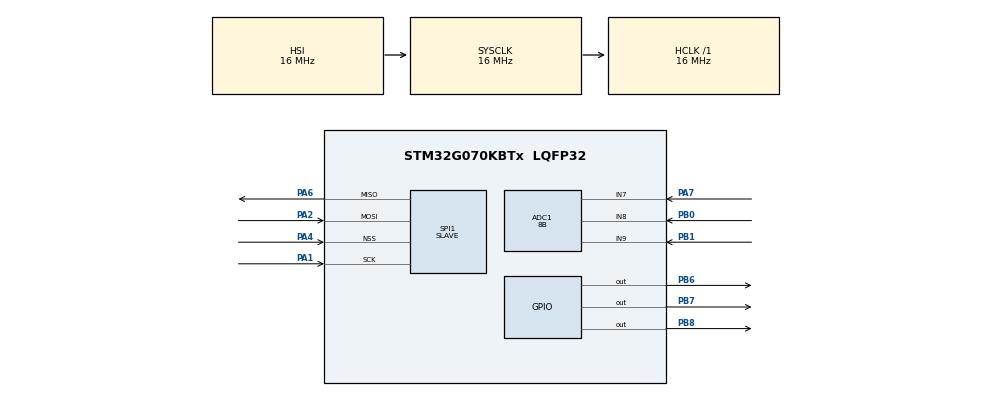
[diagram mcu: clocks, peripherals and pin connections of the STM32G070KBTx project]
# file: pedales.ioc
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ADC1.Channel-10\#ChannelRegularConversion=ADC_CHANNEL_8
ADC1.Channel-11\#ChannelRegularConversion=ADC_CHANNEL_9
ADC1.Channel-9\#ChannelRegularConversion=ADC_CHANNEL_7
ADC1.ClockPrescaler=ADC_CLOCK_ASYNC_DIV1
ADC1.DMAContinuousRequests=DISABLE
ADC1.DiscontinuousConvMode=ENABLE
ADC1.ExternalTrigConv=ADC_EXTERNALTRIG_T15_TRGO
ADC1.ExternalTrigConvEdge=ADC_EXTERNALTRIGCONVEDGE_RISINGFALLING
ADC1.NbrOfConversion=3
ADC1.NbrOfConversionFlag=1
ADC1.Overrun=ADC_OVR_DATA_OVERWRITTEN
ADC1.Rank-10\#ChannelRegularConversion=2
ADC1.Rank-11\#ChannelRegularConversion=3
ADC1.Rank-9\#ChannelRegularConversion=1
ADC1.Resolution=ADC_RESOLUTION_8B
ADC1.SamplingTime-10\#ChannelRegularConversion=ADC_SAMPLINGTIME_COMMON_1
ADC1.SamplingTime-11\#ChannelRegularConversion=ADC_SAMPLINGTIME_COMMON_1
ADC1.SamplingTime-9\#ChannelRegularConversion=ADC_SAMPLINGTIME_COMMON_1
ADC1.SelectedChannel=ADC_CHANNEL_7|ADC_CHANNEL_8|ADC_CHANNEL_9
ADC1.TriggerFrequencyMode=ADC_TRIGGER_FREQ_LOW
ADC1.master=1
Mcu.Family=STM32G0
Mcu.Name=STM32G070KBTx
Mcu.Package=LQFP32
NVIC.ADC1_IRQn=true\:0\:0\:false\:true\:true\:3\:true\:true\:true
NVIC.SPI1_IRQn=true\:0\:0\:false\:true\:true\:1\:true\:true\:true
NVIC.TIM15_IRQn=true\:0\:0\:true\:true\:true\:2\:true\:true\:true
PA1.Mode=Full_Duplex_Slave
PA1.Signal=SPI1_SCK
PA2.Mode=Full_Duplex_Slave
PA2.Signal=SPI1_MOSI
PA4.Mode=NSS_Signal_Hard_Input
PA4.Signal=SPI1_NSS
PA6.Mode=Full_Duplex_Slave
PA6.Signal=SPI1_MISO
PA7.Mode=IN7
PA7.Signal=ADC1_IN7
PB0.Mode=IN8
PB0.Signal=ADC1_IN8
PB1.Mode=IN9
PB1.Signal=ADC1_IN9
PB6.Signal=GPIO_Output
PB7.Signal=GPIO_Output
PB8.Signal=GPIO_Output
ProjectManager.HeapSize=0x200
ProjectManager.StackSize=0x400
ProjectManager.TargetToolchain=STM32CubeIDE
RCC.AHBFreq_Value=16000000
RCC.CortexFreq_Value=16000000
RCC.EXTERNAL_CLOCK_VALUE=48000
RCC.HCLKFreq_Value=16000000
RCC.HSE_VALUE=8000000
RCC.HSI_VALUE=16000000
RCC.LSE_VALUE=32768
RCC.SYSCLKFreq_VALUE=16000000
RCC.VCOOutputFreq_Value=128000000
SPI1.DataSize=SPI_DATASIZE_8BIT
SPI1.Direction=SPI_DIRECTION_2LINES
SPI1.Mode=SPI_MODE_SLAVE
SPI1.VirtualNSS=VM_NSSHARD
SPI1.VirtualType=VM_SLAVE
TIM15.AutoReloadPreload=TIM_AUTORELOAD_PRELOAD_ENABLE
TIM15.Channel-PWM\ Generation1\ No\ Output=TIM_CHANNEL_1
TIM15.Period=1
TIM15.Prescaler=63000
TIM15.RepetitionCounter=1
TIM15.TIM_MasterOutputTrigger=TIM_TRGO_UPDATE
VP_TIM15_VS_ClockSourceINT.Mode=Internal
VP_TIM15_VS_no_output1.Mode=PWM Generation1 No Output
board=custom

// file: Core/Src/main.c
/* USER CODE BEGIN Header */
/**
  ******************************************************************************
  * @file           : main.c
  * @brief          : Main program body
  ******************************************************************************
  * @attention
  *
  * Copyright (c) 2023 STMicroelectronics.
  * All rights reserved.
  *
  * This software is licensed under terms that can be found in the LICENSE file
  * in the root directory of this software component.
  * If no LICENSE file comes with this software, it is provided AS-IS.
  *
  ******************************************************************************
  */
/* USER CODE END Header */
#include "main.h"

ADC_HandleTypeDef hadc1;

SPI_HandleTypeDef hspi1;

TIM_HandleTypeDef htim15;

void SystemClock_Config(void);
static void MX_GPIO_Init(void);
static void MX_SPI1_Init(void);
static void MX_TIM15_Init(void);
static void MX_ADC1_Init(void);
static void MX_NVIC_Init(void);
/* USER CODE BEGIN PFP */
uint8_t tx_data[4]={0};
uint8_t adc_val[3]={0};
/* USER CODE END PFP */

/* USER CODE BEGIN 0 */

void HAL_SPI_TxRxCpltCallback(SPI_HandleTypeDef *hspi){
	//tx_data[2]=adc_val;
	//tx_data[4]=0xFF;
	tx_data[0]=adc_val[0];
	tx_data[1]=adc_val[1];
	tx_data[2]=adc_val[2];
	tx_data[3]=0xFF;
	HAL_SPI_TransmitReceive_IT(hspi, tx_data, tx_data, 4);
}

void HAL_ADC_ConvCpltCallback(ADC_HandleTypeDef *hadc)
{

	HAL_ADC_PollForConversion(hadc,1);
	HAL_ADC_GetValue(hadc);
	HAL_ADC_GetValue(hadc);
	adc_val[0]=HAL_ADC_GetValue(hadc);
	HAL_ADC_PollForConversion(hadc,1);
	HAL_ADC_GetValue(hadc);
	HAL_ADC_GetValue(hadc);
	adc_val[1]=HAL_ADC_GetValue(hadc);
	HAL_ADC_PollForConversion(hadc,1);
	HAL_ADC_GetValue(hadc);
	HAL_ADC_GetValue(hadc);
	adc_val[2]=HAL_ADC_GetValue(hadc);

}

void HAL_TIM_PeriodElapsedCallback(TIM_HandleTypeDef *htim)
{
  /* USER CODE BEGIN Callback 0 */

  /* USER CODE END Callback 0 */
  if (htim->Instance == TIM1) {
    HAL_IncTick();
  }
  /* USER CODE BEGIN Callback 1 */
if(htim->Instance==TIM15){
	HAL_GPIO_TogglePin(GPIOB,GPIO_PIN_7);
	//HAL_ADC_Start_IT(&hadc1);
	/*tx_data[0]=HAL_ADC_GetValue(&hadc1);
	tx_data[1]=HAL_ADC_GetValue(&hadc1);
	tx_data[2]=HAL_ADC_GetValue(&hadc1);
*/

}
  /* USER CODE END Callback 1 */
}

/* USER CODE END 0 */

int main(void)
{

  /* MCU Configuration--------------------------------------------------------*/

  /* Reset of all peripherals, Initializes the Flash interface and the Systick. */
  HAL_Init();

  /* Configure the system clock */
  SystemClock_Config();

  /* Initialize all configured peripherals */
  MX_GPIO_Init();
  MX_SPI1_Init();
  MX_TIM15_Init();
  MX_ADC1_Init();

  /* Initialize interrupts */
  MX_NVIC_Init();
  /* USER CODE BEGIN 2 */
  HAL_SPI_TransmitReceive_IT(&hspi1,tx_data,tx_data, 4);

  /* USER CODE END 2 */

  /* Infinite loop */
  while (1)
  {

  }
}

void SystemClock_Config(void)
{
  RCC_OscInitTypeDef RCC_OscInitStruct = {0};
  RCC_ClkInitTypeDef RCC_ClkInitStruct = {0};

  /** Configure the main internal regulator output voltage
  */
  HAL_PWREx_ControlVoltageScaling(PWR_REGULATOR_VOLTAGE_SCALE1);

  /** Initializes the RCC Oscillators according to the specified parameters
  * in the RCC_OscInitTypeDef structure.
  */
  RCC_OscInitStruct.OscillatorType = RCC_OSCILLATORTYPE_HSI;
  RCC_OscInitStruct.HSIState = RCC_HSI_ON;
  RCC_OscInitStruct.HSIDiv = RCC_HSI_DIV1;
  RCC_OscInitStruct.HSICalibrationValue = RCC_HSICALIBRATION_DEFAULT;
  RCC_OscInitStruct.PLL.PLLState = RCC_PLL_NONE;
  if (HAL_RCC_OscConfig(&RCC_OscInitStruct) != HAL_OK)
  {
    Error_Handler();
  }

  /** Initializes the CPU, AHB and APB buses clocks
  */
  RCC_ClkInitStruct.ClockType = RCC_CLOCKTYPE_HCLK|RCC_CLOCKTYPE_SYSCLK
                              |RCC_CLOCKTYPE_PCLK1;
  RCC_ClkInitStruct.SYSCLKSource = RCC_SYSCLKSOURCE_HSI;
  RCC_ClkInitStruct.AHBCLKDivider = RCC_SYSCLK_DIV1;
  RCC_ClkInitStruct.APB1CLKDivider = RCC_HCLK_DIV1;

  if (HAL_RCC_ClockConfig(&RCC_ClkInitStruct, FLASH_LATENCY_0) != HAL_OK)
  {
    Error_Handler();
  }
}

/**
  * @brief NVIC Configuration.
  * @retval None
  */
static void MX_NVIC_Init(void)
{
  /* SPI1_IRQn interrupt configuration */
  HAL_NVIC_SetPriority(SPI1_IRQn, 0, 0);
  HAL_NVIC_EnableIRQ(SPI1_IRQn);
  /* TIM15_IRQn interrupt configuration */
  HAL_NVIC_SetPriority(TIM15_IRQn, 0, 0);
  HAL_NVIC_EnableIRQ(TIM15_IRQn);
  /* ADC1_IRQn interrupt configuration */
  HAL_NVIC_SetPriority(ADC1_IRQn, 0, 0);
  HAL_NVIC_EnableIRQ(ADC1_IRQn);
}

static void MX_ADC1_Init(void)
{

  ADC_ChannelConfTypeDef sConfig = {0};

  /** Configure the global features of the ADC (Clock, Resolution, Data Alignment and number of conversion)
  */
  hadc1.Instance = ADC1;
  hadc1.Init.ClockPrescaler = ADC_CLOCK_ASYNC_DIV1;
  hadc1.Init.Resolution = ADC_RESOLUTION_8B;
  hadc1.Init.DataAlign = ADC_DATAALIGN_RIGHT;
  hadc1.Init.ScanConvMode = ADC_SCAN_ENABLE;
  hadc1.Init.EOCSelection = ADC_EOC_SINGLE_CONV;
  hadc1.Init.LowPowerAutoWait = DISABLE;
  hadc1.Init.LowPowerAutoPowerOff = DISABLE;
  hadc1.Init.ContinuousConvMode = DISABLE;
  hadc1.Init.NbrOfConversion = 3;
  hadc1.Init.DiscontinuousConvMode = ENABLE;
  hadc1.Init.ExternalTrigConv = ADC_EXTERNALTRIG_T15_TRGO;
  hadc1.Init.ExternalTrigConvEdge = ADC_EXTERNALTRIGCONVEDGE_RISINGFALLING;
  hadc1.Init.DMAContinuousRequests = DISABLE;
  hadc1.Init.Overrun = ADC_OVR_DATA_OVERWRITTEN;
  hadc1.Init.SamplingTimeCommon1 = ADC_SAMPLETIME_1CYCLE_5;
  hadc1.Init.SamplingTimeCommon2 = ADC_SAMPLETIME_1CYCLE_5;
  hadc1.Init.OversamplingMode = DISABLE;
  hadc1.Init.TriggerFrequencyMode = ADC_TRIGGER_FREQ_LOW;
  if (HAL_ADC_Init(&hadc1) != HAL_OK)
  {
    Error_Handler();
  }

  /** Configure Regular Channel
  */
  sConfig.Channel = ADC_CHANNEL_7;
  sConfig.Rank = ADC_REGULAR_RANK_1;
  sConfig.SamplingTime = ADC_SAMPLINGTIME_COMMON_1;
  if (HAL_ADC_ConfigChannel(&hadc1, &sConfig) != HAL_OK)
  {
    Error_Handler();
  }

  /** Configure Regular Channel
  */
  sConfig.Channel = ADC_CHANNEL_8;
  sConfig.Rank = ADC_REGULAR_RANK_2;
  if (HAL_ADC_ConfigChannel(&hadc1, &sConfig) != HAL_OK)
  {
    Error_Handler();
  }

  /** Configure Regular Channel
  */
  sConfig.Channel = ADC_CHANNEL_9;
  sConfig.Rank = ADC_REGULAR_RANK_3;
  if (HAL_ADC_ConfigChannel(&hadc1, &sConfig) != HAL_OK)
  {
    Error_Handler();
  }
  /* USER CODE BEGIN ADC1_Init 2 */
  HAL_ADC_Start_IT(&hadc1);
  /* USER CODE END ADC1_Init 2 */

}

static void MX_SPI1_Init(void)
{

  /* SPI1 parameter configuration*/
  hspi1.Instance = SPI1;
  hspi1.Init.Mode = SPI_MODE_SLAVE;
  hspi1.Init.Direction = SPI_DIRECTION_2LINES;
  hspi1.Init.DataSize = SPI_DATASIZE_8BIT;
  hspi1.Init.CLKPolarity = SPI_POLARITY_LOW;
  hspi1.Init.CLKPhase = SPI_PHASE_1EDGE;
  hspi1.Init.NSS = SPI_NSS_HARD_INPUT;
  hspi1.Init.FirstBit = SPI_FIRSTBIT_MSB;
  hspi1.Init.TIMode = SPI_TIMODE_DISABLE;
  hspi1.Init.CRCCalculation = SPI_CRCCALCULATION_DISABLE;
  hspi1.Init.CRCPolynomial = 7;
  hspi1.Init.CRCLength = SPI_CRC_LENGTH_DATASIZE;
  hspi1.Init.NSSPMode = SPI_NSS_PULSE_DISABLE;
  if (HAL_SPI_Init(&hspi1) != HAL_OK)
  {
    Error_Handler();
  }

}

static void MX_TIM15_Init(void)
{

  TIM_ClockConfigTypeDef sClockSourceConfig = {0};
  TIM_MasterConfigTypeDef sMasterConfig = {0};
  TIM_OC_InitTypeDef sConfigOC = {0};
  TIM_BreakDeadTimeConfigTypeDef sBreakDeadTimeConfig = {0};

  htim15.Instance = TIM15;
  htim15.Init.Prescaler = 63000;
  htim15.Init.CounterMode = TIM_COUNTERMODE_UP;
  htim15.Init.Period = 1;
  htim15.Init.ClockDivision = TIM_CLOCKDIVISION_DIV1;
  htim15.Init.RepetitionCounter = 1;
  htim15.Init.AutoReloadPreload = TIM_AUTORELOAD_PRELOAD_ENABLE;
  if (HAL_TIM_Base_Init(&htim15) != HAL_OK)
  {
    Error_Handler();
  }
  sClockSourceConfig.ClockSource = TIM_CLOCKSOURCE_INTERNAL;
  if (HAL_TIM_ConfigClockSource(&htim15, &sClockSourceConfig) != HAL_OK)
  {
    Error_Handler();
  }
  if (HAL_TIM_PWM_Init(&htim15) != HAL_OK)
  {
    Error_Handler();
  }
  sMasterConfig.MasterOutputTrigger = TIM_TRGO_UPDATE;
  sMasterConfig.MasterSlaveMode = TIM_MASTERSLAVEMODE_DISABLE;
  if (HAL_TIMEx_MasterConfigSynchronization(&htim15, &sMasterConfig) != HAL_OK)
  {
    Error_Handler();
  }
  sConfigOC.OCMode = TIM_OCMODE_PWM1;
  sConfigOC.Pulse = 0;
  sConfigOC.OCPolarity = TIM_OCPOLARITY_HIGH;
  sConfigOC.OCNPolarity = TIM_OCNPOLARITY_HIGH;
  sConfigOC.OCFastMode = TIM_OCFAST_DISABLE;
  sConfigOC.OCIdleState = TIM_OCIDLESTATE_RESET;
  sConfigOC.OCNIdleState = TIM_OCNIDLESTATE_RESET;
  if (HAL_TIM_PWM_ConfigChannel(&htim15, &sConfigOC, TIM_CHANNEL_1) != HAL_OK)
  {
    Error_Handler();
  }
  sBreakDeadTimeConfig.OffStateRunMode = TIM_OSSR_DISABLE;
  sBreakDeadTimeConfig.OffStateIDLEMode = TIM_OSSI_DISABLE;
  sBreakDeadTimeConfig.LockLevel = TIM_LOCKLEVEL_OFF;
  sBreakDeadTimeConfig.DeadTime = 0;
  sBreakDeadTimeConfig.BreakState = TIM_BREAK_DISABLE;
  sBreakDeadTimeConfig.BreakPolarity = TIM_BREAKPOLARITY_HIGH;
  sBreakDeadTimeConfig.BreakFilter = 0;
  sBreakDeadTimeConfig.AutomaticOutput = TIM_AUTOMATICOUTPUT_DISABLE;
  if (HAL_TIMEx_ConfigBreakDeadTime(&htim15, &sBreakDeadTimeConfig) != HAL_OK)
  {
    Error_Handler();
  }
  /* USER CODE BEGIN TIM15_Init 2 */
HAL_TIM_Base_Start_IT(&htim15);
HAL_TIM_PWM_Start(&htim15,TIM_CHANNEL_1);
  /* USER CODE END TIM15_Init 2 */

}

static void MX_GPIO_Init(void)
{
  GPIO_InitTypeDef GPIO_InitStruct = {0};

  /* GPIO Ports Clock Enable */
  __HAL_RCC_GPIOA_CLK_ENABLE();
  __HAL_RCC_GPIOB_CLK_ENABLE();

  /*Configure GPIO pin Output Level */
  HAL_GPIO_WritePin(GPIOB, GPIO_PIN_6|GPIO_PIN_7|GPIO_PIN_8, GPIO_PIN_RESET);

  /*Configure GPIO pins : PB6 PB7 PB8 */
  GPIO_InitStruct.Pin = GPIO_PIN_6|GPIO_PIN_7|GPIO_PIN_8;
  GPIO_InitStruct.Mode = GPIO_MODE_OUTPUT_PP;
  GPIO_InitStruct.Pull = GPIO_NOPULL;
  GPIO_InitStruct.Speed = GPIO_SPEED_FREQ_LOW;
  HAL_GPIO_Init(GPIOB, &GPIO_InitStruct);

}

void Error_Handler(void)
{
  __disable_irq();
  while (1)
  {
  }
}
